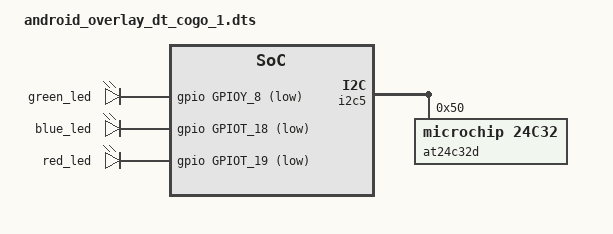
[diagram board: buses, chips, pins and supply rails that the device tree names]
// SPDX-License-Identifier: (GPL-2.0+ OR MIT)
/*
 * Copyright (c) 2019 Amlogic, Inc. All rights reserved.
 */

/dts-v1/;
/plugin/;

#include <dt-bindings/gpio/gpio.h>
#include <dt-bindings/gpio/meson-t7-gpio.h>
#include <dt-bindings/leds/common.h>

/*
 * Helper to show loaded overlays under: /proc/device-tree/chosen/overlays/
 */
//&{/chosen} {
//        overlays {
//                android_overlay_dt_cogo_1.kernel = __TIMESTAMP__;
//        };
//};

/ {
//    compatible="kvim4,kvim4n";

    // dtc will emit an error based on the fragment@0 syntax:
    // Warning (unit_address_vs_reg): Node /fragment@0 has a unit name, but no reg property
    //
    // This warning can be suppressed with -Wno-unit_address_vs_reg
    //
    // "Here, dtc is tricked by the fragment@<n> syntax into expecting
    //  a corresponding "reg", but there shouldn't be one. This warning
    //  is a fact of life until dtc is updated to include a better
    //  understanding of the overlay syntax."
    // https://forums.raspberrypi.com/viewtopic.php?t=172342
    fragment@0 {
        // absolute path
        target-path="/";
        __overlay__ {

	    status_leds {
	        compatible = "gpio-leds";
	        green_led {
	            gpios = <&gpio GPIOY_8 GPIO_ACTIVE_LOW>;
	            // Including color or function will change the
	            // naming scheme to color:function[-sequence number]
	            // which is less descriptive than the device tree
	            // node name.
	            //color = <LED_COLOR_ID_GREEN>;
	            //function = LED_FUNCTION_INDICATOR;
	            retain-state-suspended;
	            default-state = "keep";
	        };

                blue_led {
	            gpios = <&gpio GPIOT_18 GPIO_ACTIVE_LOW>;
	            retain-state-suspended;
	            default-state = "keep";
	        };

	        red_led {
	            gpios = <&gpio GPIOT_19 GPIO_ACTIVE_LOW>;
	            retain-state-suspended;
	            default-state = "keep";
	        };
	    };
        };
    };

    fragment@1 {
        // relative path
        target = <&i2c5>;
        __overlay__ {
            #address-cells = <1>;
            #size-cells = <0>;

            at24c32d@50 {
                // https://www.kernel.org/doc/Documentation/devicetree/bindings/eeprom/at24.yaml
                compatible = "microchip,24c32", "atmel,24c32";
                reg = <0x50>; // address
                size = <4096>; //bytes
                pagesize = <32>; //bytes
                address-width = <16>; //bits

                status = "okay";
            };
        };
    };

//    fragment@2 {
// gpio for checking VIN_DET not really needed because it would always be high (if is was defined)
//    };

    fragment@2 {
        target = <&codec_mm_cma>;
        __overlay__ {
            size = <0x0 0x3f800000>;
        };
    };
};
